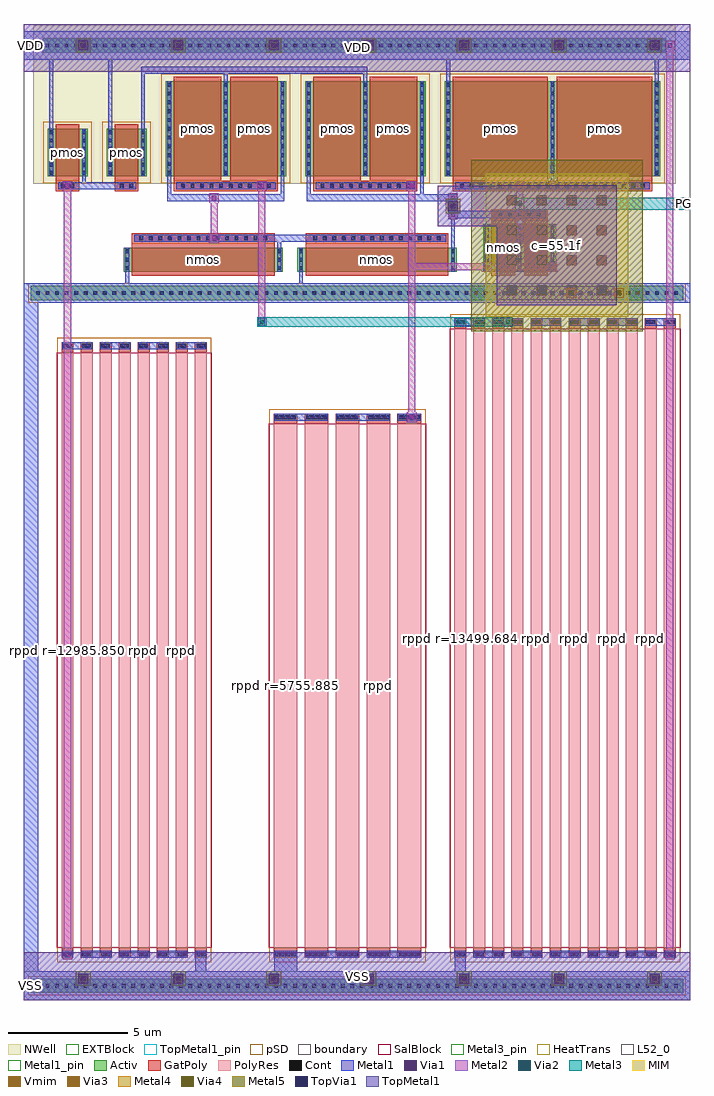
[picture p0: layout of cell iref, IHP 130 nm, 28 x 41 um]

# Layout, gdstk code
import gdstk
lib = gdstk.Library(unit=1e-6, precision=1e-09)
def R(c, l, rs):  # rectangles x0, y0, x1, y1
    for r in rs: c.add(gdstk.rectangle(r[:2], r[2:], *l))
def A(c, l, x, y, w, h, nx, ny, dx, dy):  # array of equal rectangles
    R(c, l, [(x+i*dx, y+j*dy, x+i*dx+w, y+j*dy+h) for i in range(nx) for j in range(ny)])
Activ = (1, 0)
GatPoly = (5, 0)
Cont = (6, 0)
Metal1 = (8, 0)
Metal1_pin = (8, 2)
Metal2 = (10, 0)
pSD = (14, 0)
Via1 = (19, 0)
SalBlock = (28, 0)
Via2 = (29, 0)
Metal3 = (30, 0)
Metal3_pin = (30, 2)
NWell = (31, 0)
MIM = (36, 0)
Via3 = (49, 0)
Metal4 = (50, 0)
HeatTrans = (51, 0)
L52_0 = (52, 0)
Via4 = (66, 0)
Metal5 = (67, 0)
EXTBlock = (111, 0)
TopVia1 = (125, 0)
TopMetal1 = (126, 0)
TopMetal1_pin = (126, 2)
PolyRes = (128, 0)
Vmim = (129, 0)
boundary = (189, 4)

iref = lib.new_cell('iref')
A(iref, Activ, 19.3, 30.6, 0.3, 0.3, 3, 1, 1.38, 0)
A(iref, Activ, 5.96, 34.6, 0.3, 0.3, 3, 1, 2.38, 0)
A(iref, Activ, 11.82, 34.6, 0.3, 0.3, 3, 1, 2.38, 0)
A(iref, Activ, 17.68, 34.6, 0.3, 0.3, 3, 1, 4.38, 0)
R(iref, Activ, [(0.3,0.3,27.7,0.9), (0.3,29.4,27.7,30), (4.2,30.6,4.5,30.9), (4.2,30.6,10.88,31.6), (10.58,30.6,10.88,30.9), (11.5,30.6,11.8,30.9), (11.5,30.6,18.18,31.6), (17.88,30.6,18.18,30.9), (19.3,30.6,22.36,32.6), (1,34.6,1.3,34.9), (1,34.6,2.68,36.6), (2.38,34.6,2.68,34.9), (3.48,34.6,3.78,34.9), (3.48,34.6,5.16,36.6), (4.86,34.6,5.16,34.9), (5.96,34.6,11.02,38.6), (11.82,34.6,16.88,38.6), (17.68,34.6,26.74,38.6), (0.8,39.8,27,40.4)])
A(iref, GatPoly, 1.59, 1.77, 0.5, 0.23, 8, 2, 0.8, 25.63)
A(iref, GatPoly, 10.5, 1.77, 1, 0.23, 5, 2, 1.3, 22.63)
A(iref, GatPoly, 18.09, 1.77, 0.5, 0.23, 12, 2, 0.8, 26.63)
A(iref, GatPoly, 1.59, 2, 0.5, 0.2, 8, 2, 0.8, 25.2)
A(iref, GatPoly, 10.5, 2, 1, 0.2, 5, 2, 1.3, 22.2)
A(iref, GatPoly, 18.09, 2, 0.5, 0.2, 12, 2, 0.8, 26.2)
R(iref, GatPoly, [(4.54,30.42,10.54,31.78), (11.84,30.42,17.84,31.78), (19.64,30.42,20.64,32.78), (21.02,30.42,22.02,32.78), (4.54,31.78,10.54,32.22), (11.84,31.78,17.84,32.22), (19.64,32.78,22.02,33.22), (1.34,33.98,2.34,34.42), (3.82,33.98,4.82,34.42), (6.3,33.98,10.68,34.42), (12.16,33.98,16.54,34.42), (18.02,33.98,26.4,34.42), (1.34,34.42,2.34,36.78), (1.34,34.42,2.34,36.78), (3.82,34.42,4.82,36.78), (3.82,34.42,4.82,36.78), (6.3,34.42,8.3,38.78), (6.3,34.42,8.3,38.78), (8.68,34.42,10.68,38.78), (12.16,34.42,14.16,38.78), (12.16,34.42,14.16,38.78), (14.54,34.42,16.54,38.78), (18.02,34.42,22.02,38.78), (18.02,34.42,22.02,38.78), (22.4,34.42,26.4,38.78)])
A(iref, Cont, 0.52, 0.52, 0.16, 0.16, 68, 2, 0.4, 29.1)
A(iref, Cont, 1.66, 1.84, 0.36, 0.16, 8, 2, 0.8, 25.56)
A(iref, Cont, 10.57, 1.84, 0.86, 0.16, 5, 2, 1.3, 22.56)
A(iref, Cont, 18.16, 1.84, 0.36, 0.16, 12, 2, 0.8, 26.56)
A(iref, Cont, 4.27, 30.67, 0.16, 0.16, 1, 3, 0, 0.35)
A(iref, Cont, 10.65, 30.67, 0.16, 0.16, 1, 3, 0, 0.35)
A(iref, Cont, 11.57, 30.67, 0.16, 0.16, 1, 3, 0, 0.35)
A(iref, Cont, 17.95, 30.67, 0.16, 0.16, 1, 3, 0, 0.35)
A(iref, Cont, 19.37, 30.67, 0.16, 0.16, 3, 6, 1.38, 0.34)
A(iref, Cont, 4.86, 31.92, 0.16, 0.16, 14, 1, 0.4, 0)
A(iref, Cont, 12.16, 31.92, 0.16, 0.16, 14, 1, 0.4, 0)
A(iref, Cont, 19.95, 32.92, 0.16, 0.16, 5, 1, 0.4, 0)
A(iref, Cont, 6.61, 34.12, 0.16, 0.16, 10, 1, 0.4, 0)
A(iref, Cont, 12.47, 34.12, 0.16, 0.16, 10, 1, 0.4, 0)
A(iref, Cont, 18.33, 34.12, 0.16, 0.16, 20, 1, 0.4, 0)
A(iref, Cont, 1.07, 34.67, 0.16, 0.16, 1, 6, 0, 0.34)
A(iref, Cont, 2.45, 34.67, 0.16, 0.16, 1, 6, 0, 0.34)
A(iref, Cont, 3.55, 34.67, 0.16, 0.16, 1, 6, 0, 0.34)
A(iref, Cont, 4.93, 34.67, 0.16, 0.16, 1, 6, 0, 0.34)
A(iref, Cont, 6.03, 34.67, 0.16, 0.16, 3, 11, 2.38, 0.37)
A(iref, Cont, 11.89, 34.67, 0.16, 0.16, 3, 11, 2.38, 0.37)
A(iref, Cont, 17.75, 34.67, 0.16, 0.16, 3, 11, 4.38, 0.37)
A(iref, Cont, 0.92, 40.02, 0.16, 0.16, 65, 1, 0.4, 0)
R(iref, Cont, [(1.56,34.12,1.72,34.28), (1.96,34.12,2.12,34.28), (4.04,34.12,4.2,34.28), (4.44,34.12,4.6,34.28)])
A(iref, Metal1, 2.35, 0.75, 0.3, 0.3, 7, 2, 4, 39.2)
A(iref, Metal1, 1.61, 1.77, 0.46, 0.3, 8, 2, 0.8, 25.56)
A(iref, Metal1, 2.41, 1.77, 1.26, 0.3, 3, 1, 1.6, 0)
A(iref, Metal1, 10.52, 1.77, 0.96, 0.3, 5, 2, 1.3, 22.56)
A(iref, Metal1, 18.11, 1.77, 0.46, 0.3, 12, 2, 0.8, 26.56)
A(iref, Metal1, 18.91, 1.77, 1.26, 0.3, 5, 1, 1.6, 0)
A(iref, Metal1, 1.61, 27.33, 1.26, 0.3, 4, 1, 1.6, 0)
A(iref, Metal1, 18.11, 28.33, 1.26, 0.3, 6, 1, 1.6, 0)
A(iref, Metal1, 19.37, 30.6, 0.16, 2, 3, 1, 1.38, 0)
R(iref, Metal1, [(0,0,28,1.2), (0,0,0.6,30.1), (7.21,1.2,7.67,1.92), (10.52,1.2,11.48,1.92), (18.11,1.2,18.57,1.92), (1.69,1.77,1.99,2.07), (11.82,1.77,14.08,2.07), (14.42,1.77,16.68,2.07), (26.99,1.77,27.29,2.07), (10.52,24.33,12.78,24.63), (13.12,24.33,15.38,24.63), (16.15,24.33,16.45,24.63), (9.85,28.33,10.15,28.63), (20.19,28.33,20.49,28.63), (0,29.3,28,30.1), (22.85,29.55,23.15,29.85), (24.85,29.55,25.15,29.85), (4.27,29.8,4.43,30.6), (11.57,29.8,11.73,30.6), (4.27,30.6,4.43,31.6), (10.65,30.6,10.81,31.6), (11.57,30.6,11.73,31.6), (17.95,30.6,18.11,31.6), (19.3,30.65,19.6,30.95), (22.06,30.65,22.36,30.95), (10.65,31.6,10.81,32.15), (17.95,31.6,18.11,33.15), (4.64,31.85,10.44,32.15), (4.64,31.85,17.74,32.15), (7.85,31.85,8.15,32.15), (11.94,31.85,17.74,32.15), (20.68,31.85,20.98,32.15), (17.88,32.85,18.18,33.15), (17.95,32.85,19.84,33.15), (19.74,32.85,21.92,33.15), (6.03,33.55,6.19,34.6), (6.03,33.55,10.95,33.85), (7.85,33.55,8.15,33.85), (10.79,33.55,10.95,34.6), (11.89,33.55,18.2,33.85), (11.89,33.55,12.05,34.6), (16.65,33.55,16.81,34.6), (17.88,33.55,18.18,33.85), (1.44,34.05,2.24,34.35), (1.44,34.05,4.72,34.35), (1.69,34.05,1.99,34.35), (2.45,34.05,2.61,34.6), (3.92,34.05,4.72,34.35), (6.4,34.05,10.58,34.35), (9.85,34.05,10.15,34.35), (12.26,34.05,16.44,34.35), (16.15,34.05,16.45,34.35), (18.12,34.05,26.3,34.35), (20.68,34.05,20.98,34.35), (22.13,34.2,22.29,34.6), (1.07,34.6,1.23,36.6), (1.07,34.6,1.23,36.6), (2.45,34.6,2.61,36.6), (2.45,34.6,2.61,36.6), (3.55,34.6,3.71,36.6), (3.55,34.6,3.71,36.6), (4.93,34.6,5.09,36.6), (4.93,34.6,5.09,36.6), (6.03,34.6,6.19,38.6), (6.03,34.6,6.19,38.6), (8.41,34.6,8.57,38.6), (8.41,34.6,8.57,38.6), (10.79,34.6,10.95,38.6), (11.89,34.6,12.05,38.6), (11.89,34.6,12.05,38.6), (14.27,34.6,14.43,38.6), (14.27,34.6,14.43,38.6), (16.65,34.6,16.81,38.6), (17.75,34.6,17.91,38.6), (17.75,34.6,17.91,38.6), (22.13,34.6,22.29,38.6), (22.13,34.6,22.29,38.6), (26.51,34.6,26.67,38.6), (1.07,36.6,1.23,39.6), (3.55,36.6,3.71,39.6), (4.93,36.6,5.09,39.2), (8.41,38.6,8.57,39.2), (14.27,38.6,14.43,39.2), (17.75,38.6,17.91,39.6), (26.51,38.6,26.67,39.6), (4.93,38.9,14.43,39.2), (0,39.5,28,40.7), (26.99,39.95,27.29,40.25)])
R(iref, Metal1_pin, [(0,0,28,1.2), (0,39.5,28,40.7)])
A(iref, Metal2, 17.83, 32.8, 0.4, 0.4, 1, 3, 0, 0.35)
R(iref, Metal2, [(2.3,0.7,2.7,1.1), (2.3,0.7,2.7,1.1), (6.3,0.7,6.7,1.1), (6.3,0.7,6.7,1.1), (10.3,0.7,10.7,1.1), (10.3,0.7,10.7,1.1), (14.3,0.7,14.7,1.1), (14.3,0.7,14.7,1.1), (18.3,0.7,18.7,1.1), (18.3,0.7,18.7,1.1), (22.3,0.7,22.7,1.1), (22.3,0.7,22.7,1.1), (26.3,0.7,26.7,1.1), (26.3,0.7,26.7,1.1), (1.64,1.72,2.04,2.12), (26.94,1.72,27.34,2.12), (1.69,1.92,1.99,34.2), (26.99,1.92,27.29,40.1), (16.1,24.28,16.5,24.68), (16.15,24.48,16.45,34.2), (9.8,28.28,10.2,28.68), (9.8,28.28,10.2,28.68), (20.14,28.28,20.54,28.68), (20.14,28.28,20.54,28.68), (9.85,28.48,10.15,34.2), (22.8,29.5,23.2,29.9), (22.8,29.5,23.2,29.9), (24.8,29.5,25.2,29.9), (24.8,29.5,25.2,29.9), (19.25,30.6,19.65,31), (22.01,30.6,22.41,31), (16.15,30.65,22.41,30.95), (7.8,31.8,8.2,32.2), (20.63,31.8,21.03,32.2), (7.85,32,8.15,33.7), (20.68,32,20.98,34.2), (17.88,33,18.18,33.7), (20.63,33.25,21.03,33.65), (7.8,33.5,8.2,33.9), (1.64,34,2.04,34.4), (9.8,34,10.2,34.4), (16.1,34,16.5,34.4), (20.63,34,21.03,34.4), (2.3,39.9,2.7,40.3), (2.3,39.9,2.7,40.3), (6.3,39.9,6.7,40.3), (6.3,39.9,6.7,40.3), (10.3,39.9,10.7,40.3), (10.3,39.9,10.7,40.3), (14.3,39.9,14.7,40.3), (14.3,39.9,14.7,40.3), (18.3,39.9,18.7,40.3), (18.3,39.9,18.7,40.3), (22.3,39.9,22.7,40.3), (22.3,39.9,22.7,40.3), (26.3,39.9,26.7,40.3), (26.3,39.9,26.7,40.3), (26.94,39.9,27.34,40.3)])
A(iref, pSD, 1.41, 1.59, 0.86, 0.61, 8, 2, 0.8, 25.61)
A(iref, pSD, 10.32, 1.59, 1.36, 0.61, 5, 2, 1.3, 22.61)
A(iref, pSD, 17.91, 1.59, 0.86, 0.61, 12, 2, 0.8, 26.61)
A(iref, pSD, 1.41, 2.2, 0.86, 25, 8, 1, 0.8, 0)
A(iref, pSD, 10.32, 2.2, 1.36, 22, 5, 1, 1.3, 0)
A(iref, pSD, 17.91, 2.2, 0.86, 26, 12, 1, 0.8, 0)
R(iref, pSD, [(0.2,0.2,27.8,1), (0.2,29.3,27.8,30.1), (0.82,34.3,2.86,36.9), (3.3,34.3,5.34,36.9), (5.78,34.3,11.2,38.9), (11.64,34.3,17.06,38.9), (17.5,34.3,26.92,38.9)])
A(iref, Via1, 2.405, 0.805, 0.19, 0.19, 7, 2, 4, 39.2)
R(iref, Via1, [(1.745,1.825,1.935,2.015), (27.045,1.825,27.235,2.015), (16.205,24.385,16.395,24.575), (9.905,28.385,10.095,28.575), (20.245,28.385,20.435,28.575), (22.905,29.605,23.095,29.795), (24.905,29.605,25.095,29.795), (19.355,30.705,19.545,30.895), (22.115,30.705,22.305,30.895), (7.905,31.905,8.095,32.095), (20.735,31.905,20.925,32.095), (17.935,32.905,18.125,33.095), (7.905,33.605,8.095,33.795), (17.935,33.605,18.125,33.795), (1.745,34.105,1.935,34.295), (9.905,34.105,10.095,34.295), (16.205,34.105,16.395,34.295), (20.735,34.105,20.925,34.295), (27.045,40.005,27.235,40.195)])
A(iref, SalBlock, 1.39, 2.2, 0.9, 25, 8, 1, 0.8, 0)
A(iref, SalBlock, 10.3, 2.2, 1.4, 22, 5, 1, 1.3, 0)
A(iref, SalBlock, 17.89, 2.2, 0.9, 26, 12, 1, 0.8, 0)
A(iref, Via2, 2.405, 0.805, 0.19, 0.19, 7, 2, 4, 39.2)
R(iref, Via2, [(9.905,28.385,10.095,28.575), (20.245,28.385,20.435,28.575), (22.905,29.605,23.095,29.795), (24.905,29.605,25.095,29.795), (17.935,33.255,18.125,33.445), (20.735,33.355,20.925,33.545)])
R(iref, Metal3, [(2.3,0.7,2.7,1.1), (2.3,0.7,2.7,1.1), (6.3,0.7,6.7,1.1), (6.3,0.7,6.7,1.1), (10.3,0.7,10.7,1.1), (10.3,0.7,10.7,1.1), (14.3,0.7,14.7,1.1), (14.3,0.7,14.7,1.1), (18.3,0.7,18.7,1.1), (18.3,0.7,18.7,1.1), (22.3,0.7,22.7,1.1), (22.3,0.7,22.7,1.1), (26.3,0.7,26.7,1.1), (26.3,0.7,26.7,1.1), (9.8,28.28,10.2,28.68), (9.8,28.28,20.54,28.68), (20.14,28.28,20.54,28.68), (22.8,29.5,23.2,29.9), (22.8,29.5,23.2,29.9), (24.8,29.5,25.2,29.9), (24.8,29.5,25.2,29.9), (17.83,33.15,18.23,33.55), (17.83,33.15,18.23,33.55), (20.63,33.2,28,33.7), (20.63,33.25,21.03,33.65), (2.3,39.9,2.7,40.3), (2.3,39.9,2.7,40.3), (6.3,39.9,6.7,40.3), (6.3,39.9,6.7,40.3), (10.3,39.9,10.7,40.3), (10.3,39.9,10.7,40.3), (14.3,39.9,14.7,40.3), (14.3,39.9,14.7,40.3), (18.3,39.9,18.7,40.3), (18.3,39.9,18.7,40.3), (22.3,39.9,22.7,40.3), (22.3,39.9,22.7,40.3), (26.3,39.9,26.7,40.3), (26.3,39.9,26.7,40.3)])
R(iref, Metal3_pin, [(27.4,33.2,28,33.7)])
R(iref, NWell, [(0.4,34.29,27.4,40.95), (0.69,34.29,2.99,36.91), (3.17,34.29,5.47,36.91), (5.65,34.29,11.33,38.91), (11.51,34.29,17.19,38.91), (17.37,34.29,27.05,38.91)])
R(iref, MIM, [(19.4,28.7,25.4,34.7)])
A(iref, Via3, 2.405, 0.805, 0.19, 0.19, 7, 2, 4, 39.2)
R(iref, Via3, [(22.905,29.605,23.095,29.795), (24.905,29.605,25.095,29.795), (17.935,33.255,18.125,33.445)])
R(iref, Metal4, [(2.3,0.7,2.7,1.1), (2.3,0.7,2.7,1.1), (6.3,0.7,6.7,1.1), (6.3,0.7,6.7,1.1), (10.3,0.7,10.7,1.1), (10.3,0.7,10.7,1.1), (14.3,0.7,14.7,1.1), (14.3,0.7,14.7,1.1), (18.3,0.7,18.7,1.1), (18.3,0.7,18.7,1.1), (22.3,0.7,22.7,1.1), (22.3,0.7,22.7,1.1), (26.3,0.7,26.7,1.1), (26.3,0.7,26.7,1.1), (22.8,29.5,23.2,29.9), (22.8,29.5,23.2,29.9), (24.8,29.5,25.2,29.9), (24.8,29.5,25.2,29.9), (17.83,33.15,18.23,33.55), (17.83,33.15,18.23,33.55), (2.3,39.9,2.7,40.3), (2.3,39.9,2.7,40.3), (6.3,39.9,6.7,40.3), (6.3,39.9,6.7,40.3), (10.3,39.9,10.7,40.3), (10.3,39.9,10.7,40.3), (14.3,39.9,14.7,40.3), (14.3,39.9,14.7,40.3), (18.3,39.9,18.7,40.3), (18.3,39.9,18.7,40.3), (22.3,39.9,22.7,40.3), (22.3,39.9,22.7,40.3), (26.3,39.9,26.7,40.3), (26.3,39.9,26.7,40.3)])
R(iref, HeatTrans, [(4.54,30.42,10.54,31.78), (11.84,30.42,17.84,31.78), (19.64,30.42,20.64,32.78), (21.02,30.42,22.02,32.78), (1.34,34.42,2.34,36.78), (3.82,34.42,4.82,36.78), (6.3,34.42,8.3,38.78), (8.68,34.42,10.68,38.78), (12.16,34.42,14.16,38.78), (14.54,34.42,16.54,38.78), (18.02,34.42,22.02,38.78), (22.4,34.42,26.4,38.78)])
A(iref, L52_0, 1.59, 2.2, 0.5, 25, 8, 1, 0.8, 0)
A(iref, L52_0, 10.5, 2.2, 1, 22, 5, 1, 1.3, 0)
A(iref, L52_0, 18.09, 2.2, 0.5, 26, 12, 1, 0.8, 0)
A(iref, Via4, 2.405, 0.805, 0.19, 0.19, 7, 2, 4, 39.2)
R(iref, Via4, [(22.905,29.605,23.095,29.795), (24.905,29.605,25.095,29.795), (17.935,33.255,18.125,33.445)])
A(iref, Metal5, 2.19, 0.59, 0.62, 0.62, 7, 2, 4, 39.2)
A(iref, Metal5, 2.3, 0.7, 0.4, 0.4, 7, 2, 4, 39.2)
R(iref, Metal5, [(18.8,28.1,26,35.3), (22.8,29.5,23.2,29.9), (24.8,29.5,25.2,29.9), (17.72,33.04,18.34,33.66), (17.83,33.15,18.23,33.55)])
A(iref, EXTBlock, 1.41, 1.59, 0.86, 0.61, 8, 2, 0.8, 25.61)
A(iref, EXTBlock, 10.32, 1.59, 1.36, 0.61, 5, 2, 1.3, 22.61)
A(iref, EXTBlock, 17.91, 1.59, 0.86, 0.61, 12, 2, 0.8, 26.61)
A(iref, EXTBlock, 1.39, 2.2, 0.9, 25, 8, 1, 0.8, 0)
A(iref, EXTBlock, 10.3, 2.2, 1.4, 22, 5, 1, 1.3, 0)
A(iref, EXTBlock, 17.89, 2.2, 0.9, 26, 12, 1, 0.8, 0)
A(iref, TopVia1, 2.29, 0.69, 0.42, 0.42, 7, 2, 4, 39.2)
R(iref, TopVia1, [(17.82,33.14,18.24,33.56)])
R(iref, TopMetal1, [(0,0,28,2), (19.88,29.18,24.92,34.22), (17.4,32.5,20.4,34.2), (0,39,28,41)])
R(iref, TopMetal1_pin, [(0,0,28,2), (0,39,28,41)])
A(iref, PolyRes, 1.59, 2.2, 0.5, 25, 8, 1, 0.8, 0)
A(iref, PolyRes, 10.5, 2.2, 1, 22, 5, 1, 1.3, 0)
A(iref, PolyRes, 18.09, 2.2, 0.5, 26, 12, 1, 0.8, 0)
A(iref, Vmim, 20.3, 29.6, 0.42, 0.42, 4, 4, 1.26, 1.26)
R(iref, boundary, [(0,0,28,41)])
iref.add(gdstk.Label('VSS', (0.3,0.6), layer=8, texttype=2))
iref.add(gdstk.Label('VDD', (0.3,40.1), layer=8, texttype=2))
iref.add(gdstk.Label('PG', (27.7,33.45), layer=30, texttype=2))
iref.add(gdstk.Label('VSS', (14,1), layer=126, texttype=2))
iref.add(gdstk.Label('VDD', (14,40), layer=126, texttype=2))
iref.add(gdstk.Label('VSS', (0.3,0.6), layer=8, texttype=25))
iref.add(gdstk.Label('VDD', (0.3,40.1), layer=8, texttype=25))
iref.add(gdstk.Label('PG', (27.7,33.45), layer=30, texttype=25))
iref.add(gdstk.Label('VSS', (14,1), layer=126, texttype=25))
iref.add(gdstk.Label('VDD', (14,40), layer=126, texttype=25))
iref.add(gdstk.Label('rppd r=12985.850', (1.84,14.7), layer=63, texttype=0))
iref.add(gdstk.Label('rppd r=12985.850', (1.84,14.7), layer=63, texttype=0))
iref.add(gdstk.Label('rppd r=12985.850', (1.84,14.7), layer=63, texttype=0))
iref.add(gdstk.Label('rppd r=12985.850', (1.84,14.7), layer=63, texttype=0))
iref.add(gdstk.Label('rppd r=12985.850', (1.84,14.7), layer=63, texttype=0))
iref.add(gdstk.Label('rppd r=12985.850', (1.84,14.7), layer=63, texttype=0))
iref.add(gdstk.Label('rppd r=12985.850', (1.84,14.7), layer=63, texttype=0))
iref.add(gdstk.Label('rppd r=12985.850', (1.84,14.7), layer=63, texttype=0))
iref.add(gdstk.Label('rppd r=5755.885', (11,13.2), layer=63, texttype=0))
iref.add(gdstk.Label('rppd r=5755.885', (11,13.2), layer=63, texttype=0))
iref.add(gdstk.Label('rppd r=5755.885', (11,13.2), layer=63, texttype=0))
iref.add(gdstk.Label('rppd r=5755.885', (11,13.2), layer=63, texttype=0))
iref.add(gdstk.Label('rppd r=5755.885', (11,13.2), layer=63, texttype=0))
iref.add(gdstk.Label('rppd r=13499.684', (18.34,15.2), layer=63, texttype=0))
iref.add(gdstk.Label('rppd r=13499.684', (18.34,15.2), layer=63, texttype=0))
iref.add(gdstk.Label('rppd r=13499.684', (18.34,15.2), layer=63, texttype=0))
iref.add(gdstk.Label('rppd r=13499.684', (18.34,15.2), layer=63, texttype=0))
iref.add(gdstk.Label('rppd r=13499.684', (18.34,15.2), layer=63, texttype=0))
iref.add(gdstk.Label('rppd r=13499.684', (18.34,15.2), layer=63, texttype=0))
iref.add(gdstk.Label('rppd r=13499.684', (18.34,15.2), layer=63, texttype=0))
iref.add(gdstk.Label('rppd r=13499.684', (18.34,15.2), layer=63, texttype=0))
iref.add(gdstk.Label('rppd r=13499.684', (18.34,15.2), layer=63, texttype=0))
iref.add(gdstk.Label('rppd r=13499.684', (18.34,15.2), layer=63, texttype=0))
iref.add(gdstk.Label('rppd r=13499.684', (18.34,15.2), layer=63, texttype=0))
iref.add(gdstk.Label('rppd r=13499.684', (18.34,15.2), layer=63, texttype=0))
iref.add(gdstk.Label('nmos', (7.54,31.1), layer=63, texttype=0))
iref.add(gdstk.Label('nmos', (14.84,31.1), layer=63, texttype=0))
iref.add(gdstk.Label('nmos', (20.14,31.6), layer=63, texttype=0))
iref.add(gdstk.Label('pmos', (1.84,35.6), layer=63, texttype=0))
iref.add(gdstk.Label('pmos', (4.32,35.6), layer=63, texttype=0))
iref.add(gdstk.Label('pmos', (7.3,36.6), layer=63, texttype=0))
iref.add(gdstk.Label('pmos', (13.16,36.6), layer=63, texttype=0))
iref.add(gdstk.Label('pmos', (20.02,36.6), layer=63, texttype=0))
iref.add(gdstk.Label('c=55.1f', (22.4,31.7), layer=63, texttype=0))
iref.add(gdstk.Label('cmim', (22.4,31.7), layer=63, texttype=0))
iref.add(gdstk.Label('rppd', (1.84,14.7), layer=52, texttype=0))
iref.add(gdstk.Label('rppd', (2.64,14.7), layer=52, texttype=0))
iref.add(gdstk.Label('rppd', (3.44,14.7), layer=52, texttype=0))
iref.add(gdstk.Label('rppd', (4.24,14.7), layer=52, texttype=0))
iref.add(gdstk.Label('rppd', (5.04,14.7), layer=52, texttype=0))
iref.add(gdstk.Label('rppd', (5.84,14.7), layer=52, texttype=0))
iref.add(gdstk.Label('rppd', (6.64,14.7), layer=52, texttype=0))
iref.add(gdstk.Label('rppd', (7.44,14.7), layer=52, texttype=0))
iref.add(gdstk.Label('rppd', (11,13.2), layer=52, texttype=0))
iref.add(gdstk.Label('rppd', (12.3,13.2), layer=52, texttype=0))
iref.add(gdstk.Label('rppd', (13.6,13.2), layer=52, texttype=0))
iref.add(gdstk.Label('rppd', (14.9,13.2), layer=52, texttype=0))
iref.add(gdstk.Label('rppd', (16.2,13.2), layer=52, texttype=0))
iref.add(gdstk.Label('rppd', (18.34,15.2), layer=52, texttype=0))
iref.add(gdstk.Label('rppd', (19.14,15.2), layer=52, texttype=0))
iref.add(gdstk.Label('rppd', (19.94,15.2), layer=52, texttype=0))
iref.add(gdstk.Label('rppd', (20.74,15.2), layer=52, texttype=0))
iref.add(gdstk.Label('rppd', (21.54,15.2), layer=52, texttype=0))
iref.add(gdstk.Label('rppd', (22.34,15.2), layer=52, texttype=0))
iref.add(gdstk.Label('rppd', (23.14,15.2), layer=52, texttype=0))
iref.add(gdstk.Label('rppd', (23.94,15.2), layer=52, texttype=0))
iref.add(gdstk.Label('rppd', (24.74,15.2), layer=52, texttype=0))
iref.add(gdstk.Label('rppd', (25.54,15.2), layer=52, texttype=0))
iref.add(gdstk.Label('rppd', (26.34,15.2), layer=52, texttype=0))
iref.add(gdstk.Label('rppd', (27.14,15.2), layer=52, texttype=0))
iref.add(gdstk.Label('nmos', (7.54,31.1), layer=51, texttype=0))
iref.add(gdstk.Label('nmos', (14.84,31.1), layer=51, texttype=0))
iref.add(gdstk.Label('nmos', (20.14,31.6), layer=51, texttype=0))
iref.add(gdstk.Label('nmos', (21.52,31.6), layer=51, texttype=0))
iref.add(gdstk.Label('pmos', (1.84,35.6), layer=51, texttype=0))
iref.add(gdstk.Label('pmos', (4.32,35.6), layer=51, texttype=0))
iref.add(gdstk.Label('pmos', (7.3,36.6), layer=51, texttype=0))
iref.add(gdstk.Label('pmos', (9.68,36.6), layer=51, texttype=0))
iref.add(gdstk.Label('pmos', (13.16,36.6), layer=51, texttype=0))
iref.add(gdstk.Label('pmos', (15.54,36.6), layer=51, texttype=0))
iref.add(gdstk.Label('pmos', (20.02,36.6), layer=51, texttype=0))
iref.add(gdstk.Label('pmos', (24.4,36.6), layer=51, texttype=0))

lib.write_gds('iref.gds')
